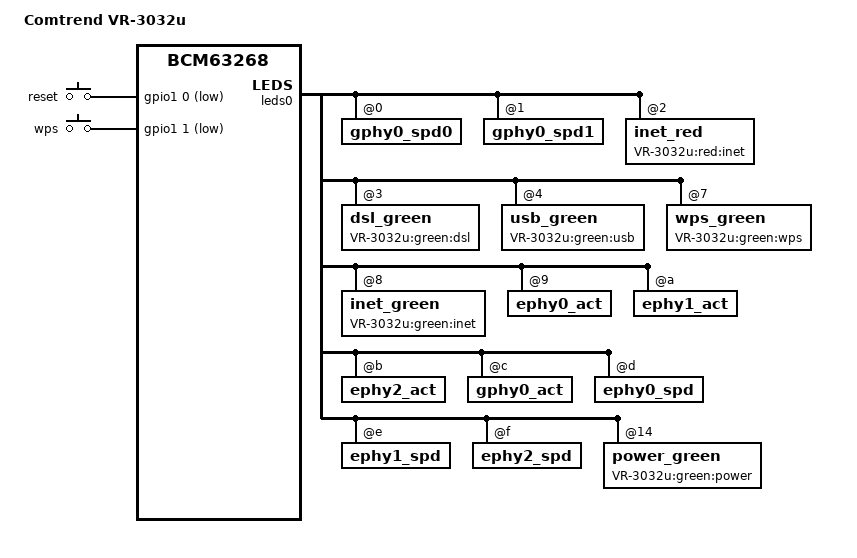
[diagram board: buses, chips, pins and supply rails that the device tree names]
/dts-v1/;

/include/ "bcm63268.dtsi"

/ {
	model = "Comtrend VR-3032u";
	compatible = "comtrend,vr-3032u", "brcm,bcm63268";

	gpio-keys-polled {
		compatible = "gpio-keys-polled";
		#address-cells = <1>;
		#size-cells = <0>;
		poll-interval = <20>;
		debounce-interval = <60>;

		reset {
			label = "reset";
			gpios = <&gpio1 0 1>;
			linux,code = <0x198>;
		};
		wps {
			label = "wps";
			gpios = <&gpio1 1 1>;
			linux,code = <0x211>;
		};
	};
};

&leds0 {
	status = "ok";
	brcm,serial-leds;

	gphy0_spd0@0 {
		reg = <0>;
		brcm,hardware-controlled;
		brcm,link-signal-sources = <0>;
	};
	gphy0_spd1@1 {
		reg = <1>;
		brcm,hardware-controlled;
		brcm,link-signal-sources = <1>;
	};
	inet_red@2 {
		reg = <2>;
		active-low;
		label = "VR-3032u:red:inet";
	};
	dsl_green@3 {
		reg = <3>;
		active-low;
		label = "VR-3032u:green:dsl";
	};
	usb_green@4 {
		reg = <4>;
		active-low;
		label = "VR-3032u:green:usb";
	};
	wps_green@7 {
		reg = <7>;
		active-low;
		label = "VR-3032u:green:wps";
	};
	inet_green@8 {
		reg = <8>;
		active-low;
		label = "VR-3032u:green:inet";
	};
	ephy0_act@9 {
		reg = <9>;
		brcm,hardware-controlled;
	};
	ephy1_act@10 {
		reg = <10>;
		brcm,hardware-controlled;
	};
	ephy2_act@11 {
		reg = <11>;
		brcm,hardware-controlled;
	};
	gphy0_act@12 {
		reg = <12>;
		brcm,hardware-controlled;
	};
	ephy0_spd@13 {
		reg = <13>;
		brcm,hardware-controlled;
	};
	ephy1_spd@14 {
		reg = <14>;
		brcm,hardware-controlled;
	};
	ephy2_spd@15 {
		reg = <15>;
		brcm,hardware-controlled;
	};
	power_green@20 {
		reg = <20>;
		active-low;
		label = "VR-3032u:green:power";
		default-state = "on";
	};
};
